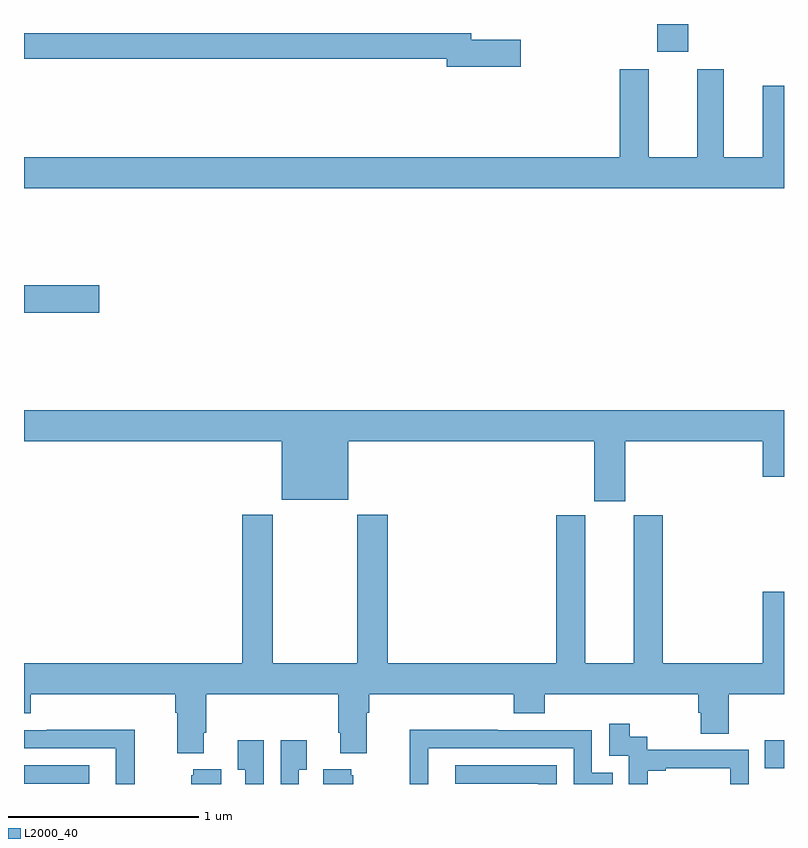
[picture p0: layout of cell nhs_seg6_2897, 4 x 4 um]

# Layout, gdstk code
import gdstk
lib = gdstk.Library(unit=1e-6, precision=1e-09)
def R(c, l, rs):  # rectangles x0, y0, x1, y1
    for r in rs: c.add(gdstk.rectangle(r[:2], r[2:], *l))
def P(c, l, *ps):  # polygons
    for p in ps: c.add(gdstk.Polygon(p, *l))
L2000_40 = (2000, 40)

nhs_seg6_2897 = lib.new_cell('nhs_seg6_2897')
R(nhs_seg6_2897, L2000_40, [(281,977.502,281.344,977.598), (284.899,977.583,285,977.731), (281,979.979,281.395,980.126), (284.333,981.354,284.497,981.5)])
P(nhs_seg6_2897, L2000_40, [(283.615,981.416),(283.354,981.416),(283.354,981.452),(281,981.452),(281,981.316),(283.226,981.316),(283.226,981.274),(283.615,981.274)],
  [(285,981.175),(284.888,981.175),(284.888,980.8),(284.683,980.8),(284.683,981.262),(284.543,981.262),(284.543,980.8),(284.287,980.8),(284.287,981.262),(284.135,981.262),(284.135,980.8),(281,980.8),(281,980.636),(285,980.636)],
  [(284.164,979.304),(284.888,979.304),(284.888,979.116),(285,979.116),(285,979.468),(281,979.468),(281,979.304),(282.356,979.304),(282.356,978.995),(282.706,978.995),(282.706,979.304),(284,979.304),(284,978.987),(284.164,978.987)],
  [(284.549,977.874),(284.561,977.874),(284.561,977.764),(284.709,977.764),(284.709,977.972),(285,977.972),(285,978.511),(284.888,978.511),(284.888,978.136),(284.363,978.136),(284.363,978.915),(284.21,978.915),(284.21,978.136),(283.954,978.136),(283.954,978.915),(283.802,978.915),(283.802,978.136),(282.914,978.136),(282.914,978.916),(282.754,978.916),(282.754,978.136),(282.309,978.136),(282.309,978.916),(282.149,978.916),(282.149,978.136),(281,978.136),(281,977.873),(281.036,977.873),(281.036,977.972),(281.795,977.972),(281.795,977.876),(281.807,977.876),(281.807,977.663),(281.947,977.663),(281.947,977.77),(281.96,977.77),(281.96,977.972),(282.653,977.972),(282.653,977.77),(282.665,977.77),(282.665,977.663),(282.805,977.663),(282.805,977.876),(282.818,977.876),(282.818,977.972),(283.577,977.972),(283.577,977.873),(283.742,977.873),(283.742,977.972),(284.549,977.972)],
  [(284.282,977.571),(284.377,977.571),(284.377,977.583),(284.718,977.583),(284.718,977.5),(284.814,977.5),(284.814,977.679),(284.28,977.679),(284.28,977.748),(284.188,977.748),(284.188,977.818),(284.079,977.818),(284.079,977.649),(284.184,977.649),(284.184,977.5),(284.282,977.5)],
  [(281.583,977.786),(281.119,977.786),(281.119,977.784),(281,977.784),(281,977.688),(281.483,977.688),(281.483,977.5),(281.583,977.5)],
  [(283.128,977.688),(283.893,977.688),(283.893,977.5),(284.099,977.5),(284.099,977.559),(283.989,977.559),(283.989,977.784),(283.493,977.784),(283.493,977.786),(283.03,977.786),(283.03,977.5),(283.128,977.5)],
  [(282.261,977.731),(282.125,977.731),(282.125,977.575),(282.165,977.575),(282.165,977.5),(282.261,977.5)],
  [(282.447,977.575),(282.487,977.575),(282.487,977.731),(282.351,977.731),(282.351,977.5),(282.447,977.5)],
  [(283.803,977.598),(283.269,977.598),(283.269,977.502),(283.707,977.502),(283.707,977.5),(283.803,977.5)],
  [(282.733,977.547),(282.722,977.547),(282.722,977.578),(282.575,977.578),(282.575,977.5),(282.733,977.5)],
  [(282.037,977.578),(281.891,977.578),(281.891,977.547),(281.879,977.547),(281.879,977.5),(282.037,977.5)])

lib.write_gds('nhs_seg6_2897.gds')
